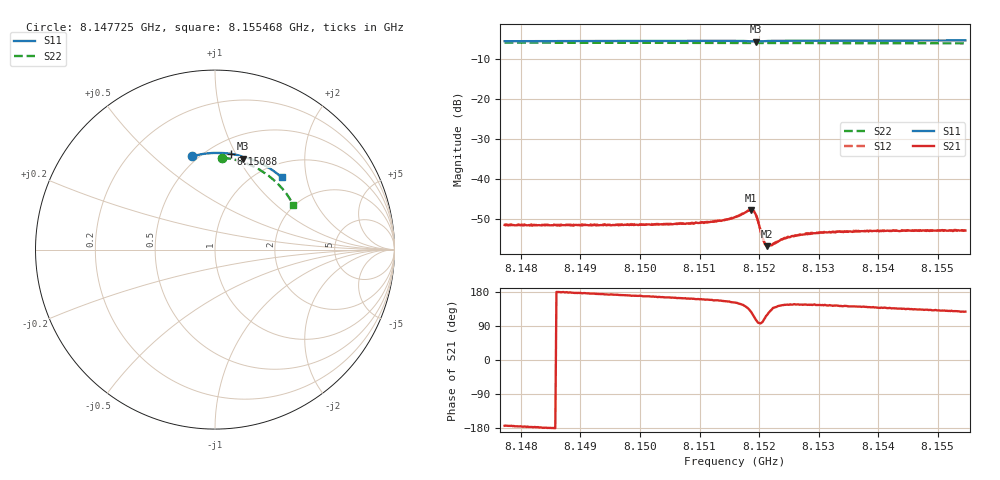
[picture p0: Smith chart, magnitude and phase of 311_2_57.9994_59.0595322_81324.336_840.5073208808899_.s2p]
#  HZ  S  RI  R  50.00
! Rohde & Schwarz Vector Network Analyzer
! Rohde-Schwarz,ZNB20-2Port,1311601062101988,3.16
! Created: UTC 3/21/2024, 1:04:12 AM
! freq[Hz]  re:S11  im:S11  re:S21  im:S21  re:S12  im:S12  re:S22  im:S22
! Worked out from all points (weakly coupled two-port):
!   401 points, 8.147725 GHz to 8.155468 GHz, reference 50 ohm
!   highest |S21| = -47.79 dB at 8.151867 GHz (marker M1); lowest = -56.9 dB at 8.152138 GHz (marker M2)
!   lowest |S11| = -5.5 dB at 8.151945 GHz (marker M3), VSWR 3.25, Z = 37.2 + j52.4 ohm
!   |S11| at or under -10 dB: nowhere
!   |S22| runs from -6.0 to -5.8 dB; largest |S21 - S12| = 0.00012
!   S11 on the Smith chart (normalised r, x): 8.147725 GHz: 0.46, +0.67; 8.15088 GHz: 0.64, +0.96; 8.155468 GHz: 1.26, +1.44
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8.1477252e9  -0.1284 0.5198  -0.00263 -0.000298  -0.00267 -0.000257  0.0403 0.5123
8.1490221e9  -0.0393 0.5362  -0.00261 0.000175  -0.00268 0.000212  0.1236 0.4973
8.1503189e9  0.0509 0.5376  -0.00261 0.000618  -0.00263 0.000689  0.2026 0.4691
8.1508803e9  0.09 0.5331  -0.00263 0.000877  -0.00268 0.000922  0.235 0.4527
8.1513835e9  0.1254 0.5263  -0.00276 0.00123  -0.00277 0.00126  0.2631 0.4363
8.1515964e9  0.1409 0.522  -0.00292 0.00158  -0.00292 0.00163  0.2744 0.4288
8.1518094e9  0.1563 0.5135  -0.00292 0.00269  -0.00287 0.00277  0.2857 0.4209
8.1518674e9  0.1586 0.5094  -0.00244 0.00327  -0.00241 0.00333  0.2885 0.4186
8.1519061e9  0.1585 0.5068  -0.00183 0.00354  -0.00184 0.00359  0.2904 0.4172
8.1519449e9  0.1575 0.5059  -0.00103 0.00344  -0.001 0.0035  0.2922 0.4157
8.1519836e9  0.1568 0.5071  -0.000434 0.00291  -0.000432 0.00296  0.294 0.4144
8.1520416e9  0.159 0.5101  -0.000288 0.002  -0.000256 0.00201  0.2972 0.4123
8.1520803e9  0.1618 0.5116  -0.000465 0.00161  -0.000401 0.0016  0.2991 0.411
8.1521191e9  0.165 0.5121  -0.000653 0.00132  -0.000606 0.00134  0.3011 0.4096
8.1521384e9  0.1667 0.5123  -0.000705 0.00125  -0.000729 0.00127  0.3021 0.4087
8.1521965e9  0.1715 0.5122  -0.000962 0.00112  -0.000963 0.00113  0.3052 0.4065
8.1523707e9  0.1849 0.5094  -0.00141 0.00103  -0.00141 0.00102  0.3138 0.3995
8.1525255e9  0.1959 0.506  -0.00157 0.00102  -0.00157 0.00105  0.3215 0.3933
8.1528933e9  0.2204 0.4968  -0.00169 0.00117  -0.00173 0.00121  0.3389 0.3775
8.1533579e9  0.2501 0.4835  -0.00175 0.00136  -0.00174 0.00136  0.3597 0.3567
8.1541902e9  0.3006 0.4553  -0.00164 0.0015  -0.00163 0.00154  0.3938 0.3167
8.1554677e9  0.3708 0.4025  -0.00138 0.00179  -0.00136 0.00178  0.4371 0.2491
